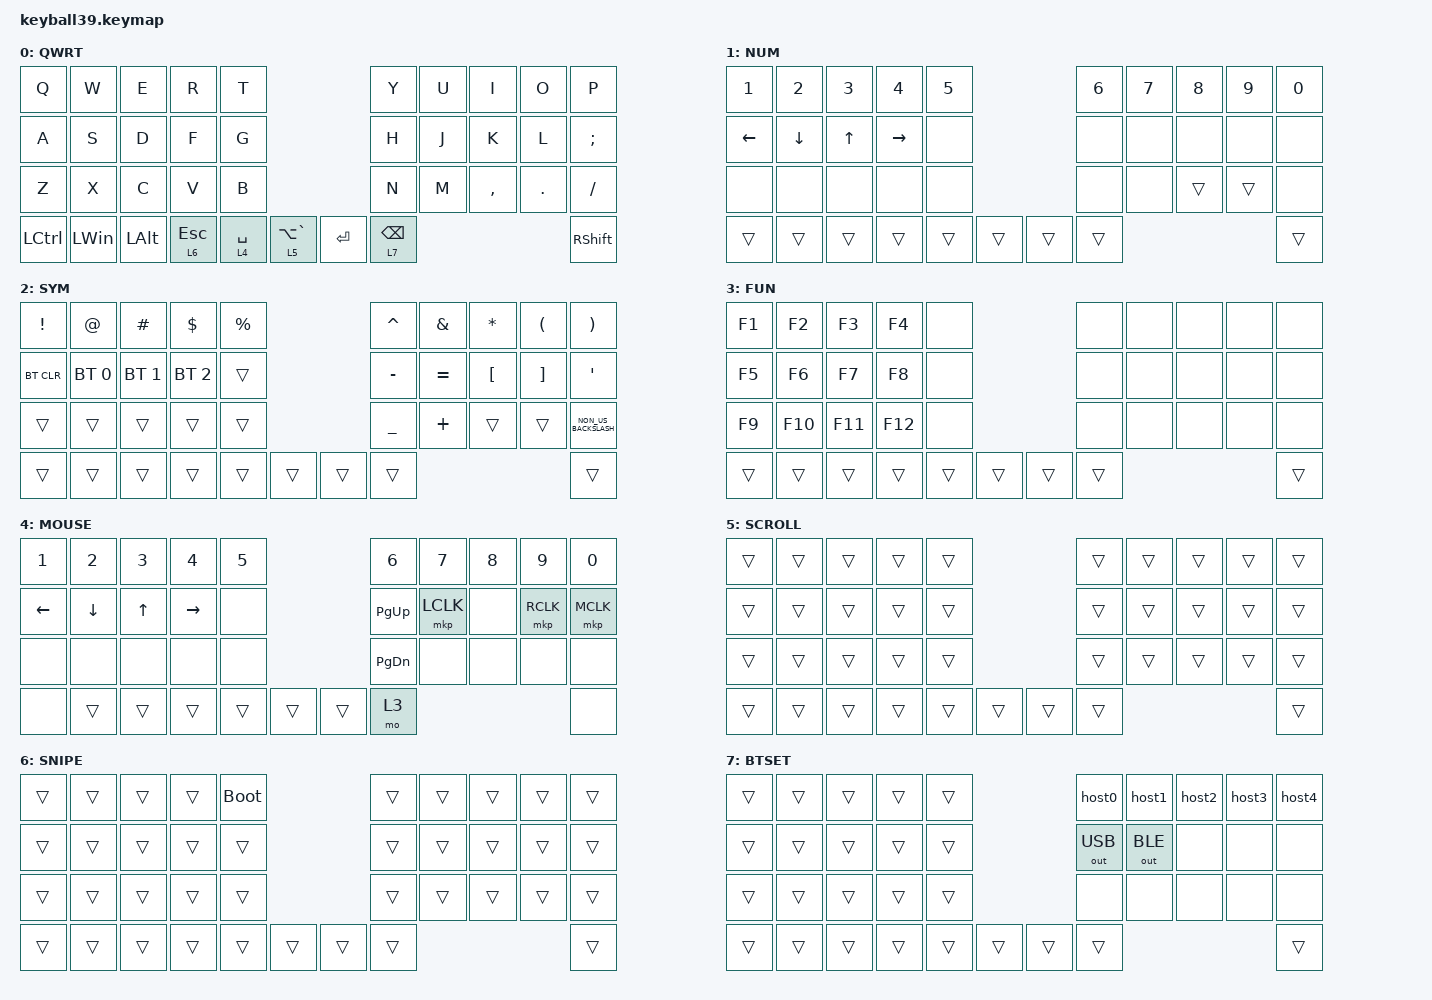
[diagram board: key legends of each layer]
#define DEFAULT 0
#define NUM     1
#define SYM     2
#define FUN     3
#define MOUSE   4
#define SCROLL  5
#define SNIPE   6
#define BTSET   7

#include <behaviors/mouse_keys.dtsi>
#include <dt-bindings/zmk/mouse.h>
#include <behaviors.dtsi>
#include <dt-bindings/zmk/bt.h>
#include <dt-bindings/zmk/outputs.h>
#include <dt-bindings/zmk/keys.h>

&lt {
    tapping-term-ms = <240>;
    flavor = "balanced";
    quick-tap-ms = <150>;
};

&mt {
    tapping-term-ms = <200>;
    flavor = "tap-preferred";
    quick-tap-ms = <150>;
};

&caps_word { continue-list = <UNDERSCORE MINUS>; };

/ {
    // custom shift using mod-morph 

    behaviors {
        cmqus: comma_question {
            compatible = "zmk,behavior-mod-morph";
            label = "COMMA_QUESTION";
            #binding-cells = <0>;
            bindings = <&kp COMMA>, <&kp QUESTION>;

            mods = <(MOD_LSFT|MOD_RSFT)>;
        };

        dtsmi: dot_semi {
            compatible = "zmk,behavior-mod-morph";
            label = "DOT_SEMI";
            #binding-cells = <0>;
            bindings = <&kp DOT>, <&kp SEMI>;

            mods = <(MOD_LSFT|MOD_RSFT)>;
        };
    };

    macros {
        host0: host_0 {
            compatible = "zmk,behavior-macro";
            #binding-cells = <0>;
            bindings = <&out OUT_BLE>, <&bt BT_SEL 0>;
        };
        host1: host_1 {
            compatible = "zmk,behavior-macro";
            #binding-cells = <0>;
            bindings = <&out OUT_BLE>, <&bt BT_SEL 1>;
        };
        host2: host_2 {
            compatible = "zmk,behavior-macro";
            #binding-cells = <0>;
            bindings = <&out OUT_BLE>, <&bt BT_SEL 2>;
        };
        host3: host_3 {
            compatible = "zmk,behavior-macro";
            #binding-cells = <0>;
            bindings = <&out OUT_BLE>, <&bt BT_SEL 3>;
        };
        host4: host_4 {
            compatible = "zmk,behavior-macro";
            #binding-cells = <0>;
            bindings = <&out OUT_BLE>, <&bt BT_SEL 4>;
        };

        Hiragana: Hiragana {
            compatible = "zmk,behavior-macro";
            #binding-cells = <0>;
            bindings = <&kp LC(SPACE)>;
            label = "HIRAGANA";
        };
    };

    keymap {
        compatible = "zmk,keymap";

        default_layer {
            label = "QWRT";
            bindings = <
&kp Q      &kp W         &kp E     &kp R         &kp T                                    &kp Y            &kp U  &kp I      &kp O    &kp P
&kp A      &kp S         &kp D     &kp F         &kp G                                    &kp H            &kp J  &kp K      &kp L    &kp SEMI
&kp Z      &kp X         &kp C     &kp V         &kp B                                    &kp N            &kp M  &kp COMMA  &kp DOT  &kp SLASH
&kp LCTRL  &kp LEFT_WIN  &kp LALT  &lt 6 ESCAPE  &lt 4 SPACE  &lt 5 LA(GRAVE)  &kp ENTER  &lt 7 BACKSPACE                             &kp RSHFT
            >;
        };

        number_layer {
            label = "NUM";
            bindings = <
&kp NUMBER_1  &kp NUMBER_2  &kp NUMBER_3  &kp NUMBER_4  &kp NUMBER_5                  &kp NUMBER_6  &kp NUMBER_7  &kp NUMBER_8  &kp NUMBER_9  &kp NUMBER_0
&kp LEFT      &kp DOWN      &kp UP_ARROW  &kp RIGHT     &none                         &none         &none         &none         &none         &none
&none         &none         &none         &none         &none                         &none         &none         &trans        &trans        &none
&trans        &trans        &trans        &trans        &trans        &trans  &trans  &trans                                                  &trans
            >;
        };

        symbol_layer {
            label = "SYM";
            bindings = <
&kp EXCLAMATION  &kp AT_SIGN   &kp HASH      &kp DOLLAR    &kp PERCENT                  &kp CARET       &kp AMPERSAND  &kp ASTERISK      &kp LEFT_PARENTHESIS  &kp RIGHT_PARENTHESIS
&bt BT_CLR       &bt BT_SEL 0  &bt BT_SEL 1  &bt BT_SEL 2  &trans                       &kp MINUS       &kp EQUAL      &kp LEFT_BRACKET  &kp RIGHT_BRACKET     &kp SQT
&trans           &trans        &trans        &trans        &trans                       &kp UNDERSCORE  &kp PLUS       &trans            &trans                &kp NON_US_BACKSLASH
&trans           &trans        &trans        &trans        &trans       &trans  &trans  &trans                                                                 &trans
            >;
        };

        function_layer {
            label = "FUN";
            bindings = <
&kp F1  &kp F2   &kp F3   &kp F4   &none                   &none   &none  &none  &none  &none
&kp F5  &kp F6   &kp F7   &kp F8   &none                   &none   &none  &none  &none  &none
&kp F9  &kp F10  &kp F11  &kp F12  &none                   &none   &none  &none  &none  &none
&trans  &trans   &trans   &trans   &trans  &trans  &trans  &trans                       &trans
            >;
        };

        mouse_layer {
            label = "MOUSE";
            bindings = <
&kp N1          &kp N2          &kp N3        &kp N4     &kp N5                  &kp N6         &kp N7     &kp N8  &kp N9     &kp N0
&kp LEFT_ARROW  &kp DOWN_ARROW  &kp UP_ARROW  &kp RIGHT  &none                   &kp PAGE_UP    &mkp LCLK  &none   &mkp RCLK  &mkp MCLK
&none           &none           &none         &none      &none                   &kp PAGE_DOWN  &none      &none   &none      &none
&none           &trans          &trans        &trans     &trans  &trans  &trans  &mo 3                                        &none
            >;
        };

        scroll_layer {
            label = "SCROLL";
            bindings = <
&trans  &trans  &trans  &trans  &trans                  &trans  &trans  &trans  &trans  &trans
&trans  &trans  &trans  &trans  &trans                  &trans  &trans  &trans  &trans  &trans
&trans  &trans  &trans  &trans  &trans                  &trans  &trans  &trans  &trans  &trans
&trans  &trans  &trans  &trans  &trans  &trans  &trans  &trans                          &trans
            >;
        };

        snipe_layer {
            label = "SNIPE";
            bindings = <
&trans  &trans  &trans  &trans  &bootloader                  &trans  &trans  &trans  &trans  &trans
&trans  &trans  &trans  &trans  &trans                       &trans  &trans  &trans  &trans  &trans
&trans  &trans  &trans  &trans  &trans                       &trans  &trans  &trans  &trans  &trans
&trans  &trans  &trans  &trans  &trans       &trans  &trans  &trans                          &trans
            >;
        };

        bluetooth_settings {
            label = "BTSET";
            bindings = <
&trans &trans &trans &trans &trans    &host0 &host1 &host2 &host3 &host4
&trans &trans &trans &trans &trans    &out OUT_USB &out OUT_BLE &none &none &none
&trans &trans &trans &trans &trans    &none &none &none &none &none
&trans &trans &trans &trans &trans &trans &trans &trans &trans
            >;
        };
    };
};
